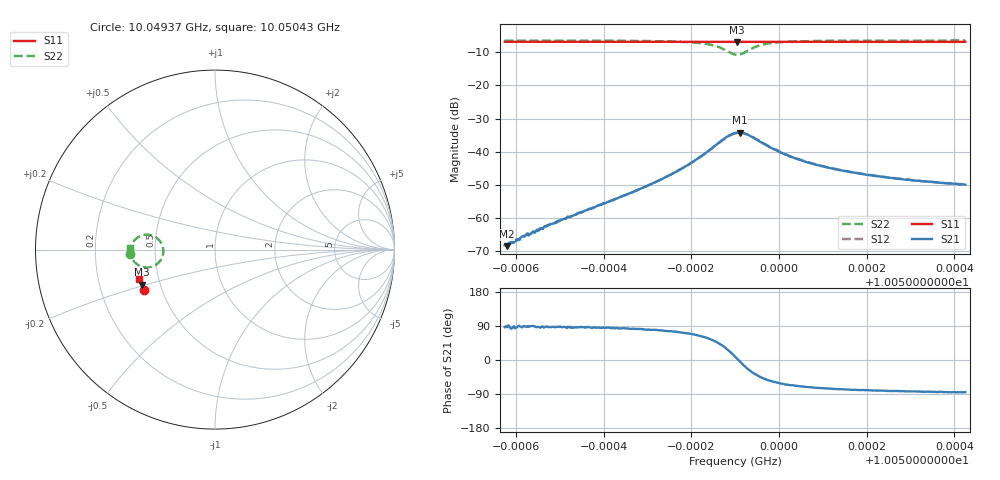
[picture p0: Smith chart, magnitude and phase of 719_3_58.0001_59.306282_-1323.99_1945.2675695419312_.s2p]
#  HZ  S  RI  R  50.00
! Rohde & Schwarz Vector Network Analyzer
! Rohde-Schwarz,ZNB20-2Port,1311601062101988,3.16
! Created: UTC 3/21/2024, 1:22:36 AM
! freq[Hz]  re:S11  im:S11  re:S21  im:S21  re:S12  im:S12  re:S22  im:S22
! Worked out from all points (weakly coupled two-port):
!   401 points, 10.04937 GHz to 10.05043 GHz, reference 50 ohm
!   highest |S21| = -34.26 dB at 10.04991 GHz (marker M1); lowest = -68.5 dB at 10.04938 GHz (marker M2)
!   lowest |S11| = -6.9 dB at 10.0499 GHz (marker M3), VSWR 2.64, Z = 19.7 - j9.66 ohm
!   |S11| at or under -10 dB: nowhere
!   |S22| runs from -10.8 to -6.5 dB; largest |S21 - S12| = 0.0017
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1.0049374e10  -0.3933 -0.2267  2.19e-05 0.000388  -5.49e-06 0.000386  -0.4741 -0.0224
1.0049379e10  -0.3936 -0.2264  2.45e-05 0.000376  -1.88e-05 0.000402  -0.4741 -0.0217
1.0049397e10  -0.3941 -0.2253  5.12e-05 0.000455  -9.3e-06 0.000457  -0.474 -0.02
1.0049421e10  -0.3949 -0.2239  1.59e-05 0.000537  -2.65e-05 0.00055  -0.4739 -0.0175
1.0049476e10  -0.3967 -0.2206  3.37e-05 0.000789  -3.84e-05 0.000791  -0.4736 -0.0117
1.004955e10  -0.3989 -0.2163  6.53e-05 0.00121  3.43e-06 0.00124  -0.4724 -0.0026
1.0049671e10  -0.4023 -0.2089  0.000342 0.00252  0.000178 0.00255  -0.4681 0.0173
1.0049726e10  -0.4039 -0.2055  0.00071 0.00361  0.000513 0.00365  -0.4626 0.0308
1.0049786e10  -0.4056 -0.2017  0.00198 0.0057  0.00158 0.00576  -0.448 0.0527
1.0049836e10  -0.4066 -0.1983  0.00532 0.00849  0.00477 0.00869  -0.4118 0.0775
1.0049873e10  -0.4068 -0.1961  0.0124 0.0091  0.0116 0.0097  -0.3438 0.0761
1.0049899e10  -0.4069 -0.195  0.0188 0.00303  0.0184 0.00445  -0.2904 0.0128
1.0049905e10  -0.4068 -0.1948  0.0192 0.000925  0.019 0.00257  -0.2881 -0.00707
1.004991e10  -0.407 -0.1948  0.0193 -0.0011  0.0194 0.000487  -0.2899 -0.0269
1.0049921e10  -0.4073 -0.1945  0.0183 -0.00491  0.0186 -0.00348  -0.3053 -0.0616
1.0049936e10  -0.408 -0.194  0.0147 -0.00853  0.0155 -0.00753  -0.3436 -0.0923
1.004997e10  -0.4096 -0.1923  0.00785 -0.0098  0.00861 -0.00938  -0.4117 -0.0942
1.0050026e10  -0.4115 -0.1889  0.00331 -0.00768  0.00397 -0.00758  -0.4526 -0.0641
1.0050076e10  -0.4129 -0.1857  0.00199 -0.00628  0.00242 -0.00621  -0.4645 -0.0446
1.005016e10  -0.4151 -0.1805  0.00106 -0.00487  0.00133 -0.00487  -0.4715 -0.0237
1.0050252e10  -0.4175 -0.1749  0.000586 -0.00401  0.000819 -0.00398  -0.474 -0.00861
1.0050425e10  -0.4215 -0.1641  0.000278 -0.00317  0.000433 -0.00317  -0.4749 0.0112
